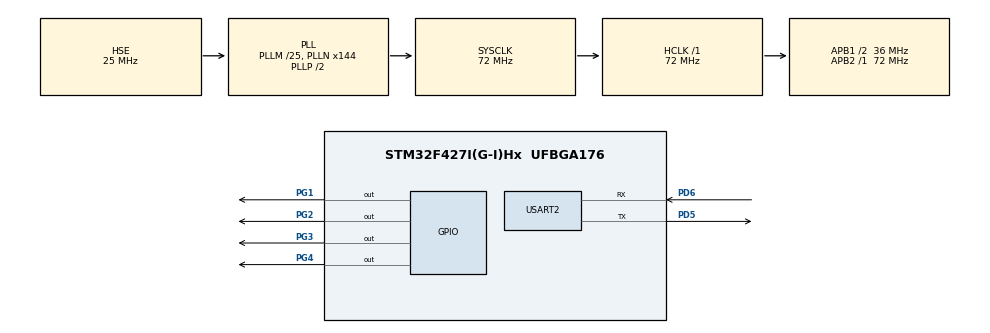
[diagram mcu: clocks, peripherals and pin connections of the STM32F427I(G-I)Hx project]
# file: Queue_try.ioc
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FREERTOS.INCLUDE_vTaskCleanUpResources=1
FREERTOS.Queues01=cmdQueue,5,uint64_t,0,Dynamic,NULL,NULL
FREERTOS.Tasks01=transmitTask,0,128,transmit_Task,Default,NULL,Dynamic,NULL,NULL;ReceiveTask,1,128,Receive_Task,Default,NULL,Dynamic,NULL,NULL;myTask03,-3,128,my_Task03,Default,NULL,Dynamic,NULL,NULL
Mcu.Family=STM32F4
Mcu.Name=STM32F427I(G-I)Hx
Mcu.Package=UFBGA176
NVIC.PriorityGroup=NVIC_PRIORITYGROUP_4
NVIC.TIM1_UP_TIM10_IRQn=true\:0\:0\:false\:false\:true\:false\:false\:true
NVIC.TimeBase=TIM1_UP_TIM10_IRQn
NVIC.TimeBaseIP=TIM1
PA13.Mode=Serial_Wire
PA13.Signal=SYS_JTMS-SWDIO
PA14.Mode=Serial_Wire
PA14.Signal=SYS_JTCK-SWCLK
PD5.Mode=Asynchronous
PD5.Signal=USART2_TX
PD6.Mode=Asynchronous
PD6.Signal=USART2_RX
PG1.PinState=GPIO_PIN_SET
PG1.Signal=GPIO_Output
PG2.PinState=GPIO_PIN_SET
PG2.Signal=GPIO_Output
PG3.PinState=GPIO_PIN_SET
PG3.Signal=GPIO_Output
PG4.PinState=GPIO_PIN_SET
PG4.Signal=GPIO_Output
PH0/OSC_IN.Mode=HSE-External-Oscillator
PH0/OSC_IN.Signal=RCC_OSC_IN
PH1/OSC_OUT.Mode=HSE-External-Oscillator
PH1/OSC_OUT.Signal=RCC_OSC_OUT
ProjectManager.HeapSize=0x200
ProjectManager.StackSize=0x400
ProjectManager.TargetToolchain=MDK-ARM V5
RCC.48MHZClocksFreq_Value=36000000
RCC.AHBFreq_Value=72000000
RCC.APB1CLKDivider=RCC_HCLK_DIV2
RCC.APB1Freq_Value=36000000
RCC.APB1TimFreq_Value=72000000
RCC.APB2Freq_Value=72000000
RCC.APB2TimFreq_Value=72000000
RCC.CortexFreq_Value=72000000
RCC.HCLKFreq_Value=72000000
RCC.HSE_VALUE=25000000
RCC.HSI_VALUE=16000000
RCC.LSE_VALUE=32768
RCC.PLLM=25
RCC.PLLN=144
RCC.PLLSourceVirtual=RCC_PLLSOURCE_HSE
RCC.SYSCLKFreq_VALUE=72000000
RCC.SYSCLKSource=RCC_SYSCLKSOURCE_PLLCLK
RCC.VCOOutputFreq_Value=144000000
USART2.VirtualMode=VM_ASYNC
VP_FREERTOS_VS_CMSIS_V1.Mode=CMSIS_V1
VP_SYS_VS_tim1.Mode=TIM1
board=custom

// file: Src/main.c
/* USER CODE BEGIN Header */
/**
  ******************************************************************************
  * @file           : main.c
  * @brief          : Main program body
  ******************************************************************************
  * @attention
  *
  * <h2><center>&copy; Copyright (c) 2022 STMicroelectronics.
  * All rights reserved.</center></h2>
  *
  * This software component is licensed by ST under Ultimate Liberty license
  * SLA0044, the "License"; You may not use this file except in compliance with
  * the License. You may obtain a copy of the License at:
  *                             www.st.com/SLA0044
  *
  ******************************************************************************
  */
/* USER CODE END Header */

#include "main.h"
#include "cmsis_os.h"
#include "usart.h"
#include "gpio.h"

void SystemClock_Config(void);
void MX_FREERTOS_Init(void);

int main(void)
{

  /* MCU Configuration--------------------------------------------------------*/

  /* Reset of all peripherals, Initializes the Flash interface and the Systick. */
  HAL_Init();

  /* Configure the system clock */
  SystemClock_Config();

  /* Initialize all configured peripherals */
  MX_GPIO_Init();
  MX_USART2_UART_Init();

  /* Call init function for freertos objects (in freertos.c) */
  MX_FREERTOS_Init();

  /* Start scheduler */
  osKernelStart();

  /* We should never get here as control is now taken by the scheduler */

  /* Infinite loop */
  while (1)
  {

  }
}

void SystemClock_Config(void)
{
  RCC_OscInitTypeDef RCC_OscInitStruct = {0};
  RCC_ClkInitTypeDef RCC_ClkInitStruct = {0};

  /** Configure the main internal regulator output voltage
  */
  __HAL_RCC_PWR_CLK_ENABLE();
  __HAL_PWR_VOLTAGESCALING_CONFIG(PWR_REGULATOR_VOLTAGE_SCALE3);
  /** Initializes the CPU, AHB and APB busses clocks
  */
  RCC_OscInitStruct.OscillatorType = RCC_OSCILLATORTYPE_HSE;
  RCC_OscInitStruct.HSEState = RCC_HSE_ON;
  RCC_OscInitStruct.PLL.PLLState = RCC_PLL_ON;
  RCC_OscInitStruct.PLL.PLLSource = RCC_PLLSOURCE_HSE;
  RCC_OscInitStruct.PLL.PLLM = 25;
  RCC_OscInitStruct.PLL.PLLN = 144;
  RCC_OscInitStruct.PLL.PLLP = RCC_PLLP_DIV2;
  RCC_OscInitStruct.PLL.PLLQ = 4;
  if (HAL_RCC_OscConfig(&RCC_OscInitStruct) != HAL_OK)
  {
    Error_Handler();
  }
  /** Initializes the CPU, AHB and APB busses clocks
  */
  RCC_ClkInitStruct.ClockType = RCC_CLOCKTYPE_HCLK|RCC_CLOCKTYPE_SYSCLK
                              |RCC_CLOCKTYPE_PCLK1|RCC_CLOCKTYPE_PCLK2;
  RCC_ClkInitStruct.SYSCLKSource = RCC_SYSCLKSOURCE_PLLCLK;
  RCC_ClkInitStruct.AHBCLKDivider = RCC_SYSCLK_DIV1;
  RCC_ClkInitStruct.APB1CLKDivider = RCC_HCLK_DIV2;
  RCC_ClkInitStruct.APB2CLKDivider = RCC_HCLK_DIV1;

  if (HAL_RCC_ClockConfig(&RCC_ClkInitStruct, FLASH_LATENCY_2) != HAL_OK)
  {
    Error_Handler();
  }
}

void HAL_TIM_PeriodElapsedCallback(TIM_HandleTypeDef *htim)
{
  if (htim->Instance == TIM1) {
    HAL_IncTick();
  }
}

void Error_Handler(void)
{
}

/************************ (C) COPYRIGHT STMicroelectronics *****END OF FILE****/

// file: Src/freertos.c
/* USER CODE BEGIN Header */
/**
  ******************************************************************************
  * File Name          : freertos.c
  * Description        : Code for freertos applications
  ******************************************************************************
  * @attention
  *
  * <h2><center>&copy; Copyright (c) 2022 STMicroelectronics.
  * All rights reserved.</center></h2>
  *
  * This software component is licensed by ST under Ultimate Liberty license
  * SLA0044, the "License"; You may not use this file except in compliance with
  * the License. You may obtain a copy of the License at:
  *                             www.st.com/SLA0044
  *
  ******************************************************************************
  */
/* USER CODE END Header */

#include "FreeRTOS.h"
#include "task.h"
#include "main.h"
#include "cmsis_os.h"

/* USER CODE BEGIN PTD */
struct Msg
{
	uint8_t num;
	uint8_t source[20];
};
struct Msg mess[2] =
{
	{100, "openled2"},
	{200, "task2"}
};
/* USER CODE END PTD */

/* USER CODE BEGIN PM */
uint8_t *sendmsg[] =
{
	"openled1",
	"openled2",
	"openled3",
	"openled4"
};
uint16_t led[4] =
{
	GPIO_PIN_1,
	GPIO_PIN_2,
	GPIO_PIN_3,
	GPIO_PIN_4
};
/* USER CODE END PM */

osThreadId transmitTaskHandle;
osThreadId ReceiveTaskHandle;
osThreadId myTask03Handle;
osMessageQId cmdQueueHandle;

void transmit_Task(void const * argument);
void Receive_Task(void const * argument);
void my_Task03(void const * argument);

void MX_FREERTOS_Init(void); /* (MISRA C 2004 rule 8.1) */

/* GetIdleTaskMemory prototype (linked to static allocation support) */
void vApplicationGetIdleTaskMemory( StaticTask_t **ppxIdleTaskTCBBuffer, StackType_t **ppxIdleTaskStackBuffer, uint32_t *pulIdleTaskStackSize );

/* USER CODE BEGIN GET_IDLE_TASK_MEMORY */
static StaticTask_t xIdleTaskTCBBuffer;
static StackType_t xIdleStack[configMINIMAL_STACK_SIZE];

void vApplicationGetIdleTaskMemory( StaticTask_t **ppxIdleTaskTCBBuffer, StackType_t **ppxIdleTaskStackBuffer, uint32_t *pulIdleTaskStackSize )
{
  *ppxIdleTaskTCBBuffer = &xIdleTaskTCBBuffer;
  *ppxIdleTaskStackBuffer = &xIdleStack[0];
  *pulIdleTaskStackSize = configMINIMAL_STACK_SIZE;
  /* place for user code */
}
/* USER CODE END GET_IDLE_TASK_MEMORY */

void MX_FREERTOS_Init(void) {

  /* Create the queue(s) */
  /* definition and creation of cmdQueue */
  osMessageQDef(cmdQueue, 5, uint64_t);
  cmdQueueHandle = osMessageCreate(osMessageQ(cmdQueue), NULL);

  /* Create the thread(s) */
  /* definition and creation of transmitTask */
  osThreadDef(transmitTask, transmit_Task, osPriorityNormal, 0, 128);
  transmitTaskHandle = osThreadCreate(osThread(transmitTask), NULL);

  /* definition and creation of ReceiveTask */
  osThreadDef(ReceiveTask, Receive_Task, osPriorityAboveNormal, 0, 128);
  ReceiveTaskHandle = osThreadCreate(osThread(ReceiveTask), NULL);

  /* definition and creation of myTask03 */
  osThreadDef(myTask03, my_Task03, osPriorityIdle, 0, 128);
  myTask03Handle = osThreadCreate(osThread(myTask03), NULL);

}

void transmit_Task(void const * argument)
{

  /* USER CODE BEGIN transmit_Task */
	uint8_t recevie_msg[] = "openled2 \n";

	portBASE_TYPE xStatus;
  /* Infinite loop */
  for(;;)
  {
//		xStatus = xQueueSendToBack(cmdQueueHandle, &mess[0] , 0); 		//将数据发送到消息队列中
		xStatus = xQueueSendToBack(cmdQueueHandle, recevie_msg , 0); 		//将数据发送到消息队列中
		//队列中每个数据单元设置为uint8_t，即单个字节，而不是指针,不能使用地址传递
		//使用结构体来发送字符串
		if(xStatus == pdPASS)
		{
//			printf("send: %d \n", mess[0].num);
//			printf("send: %s ", mess[0].source);
			printf("send: %s \n", recevie_msg);
			//taskYIELD();

		}

		osDelay(500);

  }
  /* USER CODE END transmit_Task */
}

void Receive_Task(void const * argument)
{
  /* USER CODE BEGIN Receive_Task */
	uint32_t lReceivedValue[50];				//定义接收缓冲区大小，注意内存溢出问题
	//cubemx配置单个数据内存为u64, 缓冲区大小要小于u64
	struct Msg receiveData;
	portBASE_TYPE xStatus;

  /* Infinite loop */
  for(;;)
  {

		xStatus = xQueueReceive( cmdQueueHandle,lReceivedValue, portMAX_DELAY );//在队列里读出一个数据
		if(xStatus == pdPASS)
		{
			HAL_GPIO_WritePin(GPIOG, led[0], 0);
			while(xQueueReceive( cmdQueueHandle, lReceivedValue,100 ))	{}
				//保证接收到完整数据
				printf("receive: %s \n",lReceivedValue);
//			printf("receive: %d \n",receiveData.num);
//			printf("receive: %s",receiveData.source);
			for(int i=0; i < 4; i++)
			{
				if(strcmp(lReceivedValue, sendmsg[i]) == 0)
				{
					HAL_GPIO_WritePin(GPIOG, led[i], 0);
					printf("Cmd is %s \n", sendmsg[i]);

				}
			}

		}

  }
  /* USER CODE END Receive_Task */
}

void my_Task03(void const * argument)
{
  for(;;)
  {
    osDelay(1);
  }
}

/************************ (C) COPYRIGHT STMicroelectronics *****END OF FILE****/
